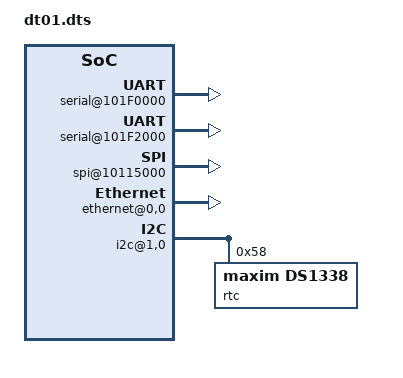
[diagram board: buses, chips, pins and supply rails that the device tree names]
/dts-v1/;

/ {
    #address-cells = <1>;
    #size-cells = <1>;
    
    compatible = "acme,coyotes-revenge";

    cpus {
        #address-cells = <1>;
        #size-cells = <0>;
        cpu@0 {
            compatible = "arm,cortex-a9";
            reg = <0>;
        };
        cpu@1 {
            compatible = "arm,cortex-a9";
            reg = <1>;
        };
    };

    serial@101F0000 {
        compatible = "arm,pl011";
        reg = <0x101f0000 0x1000 >;
    };

    serial@101F2000 {
        compatible = "arm,pl011";
        reg = <0x101f2000 0x1000 >;
    };

    gpio@101F3000 {
        compatible = "arm,pl061";
        reg = <0x101f3000 0x1000
               0x101f4000 0x0010>;
    };

    interrupt-controller@10140000 {
        compatible = "arm,pl190";
        reg = <0x10140000 0x1000 >;
    };

    spi@10115000 {
        compatible = "arm,pl022";
        reg = <0x10115000 0x1000 >;
    };

    external-bus {
        #address-cells = <2>;
        #size-cells = <1>;

        ethernet@0,0 {
            compatible = "smc,smc91c111";
            reg = <0 0 0x1000>;
        };

        i2c@1,0 {
            compatible = "acme,a1234-i2c-bus";
            #address-cells = <1>;
            #size-cells = <0>;
            reg = <1 0 0x1000>;
            rtc@58 {
                compatible = "maxim,ds1338";
                reg = <0x58>;
            };
        };

        flash@2,0 {
            compatible = "samsung,k8f1315ebm", "cfi-flash";
            reg = <2 0 0x4000000>;
        };
    };
};
